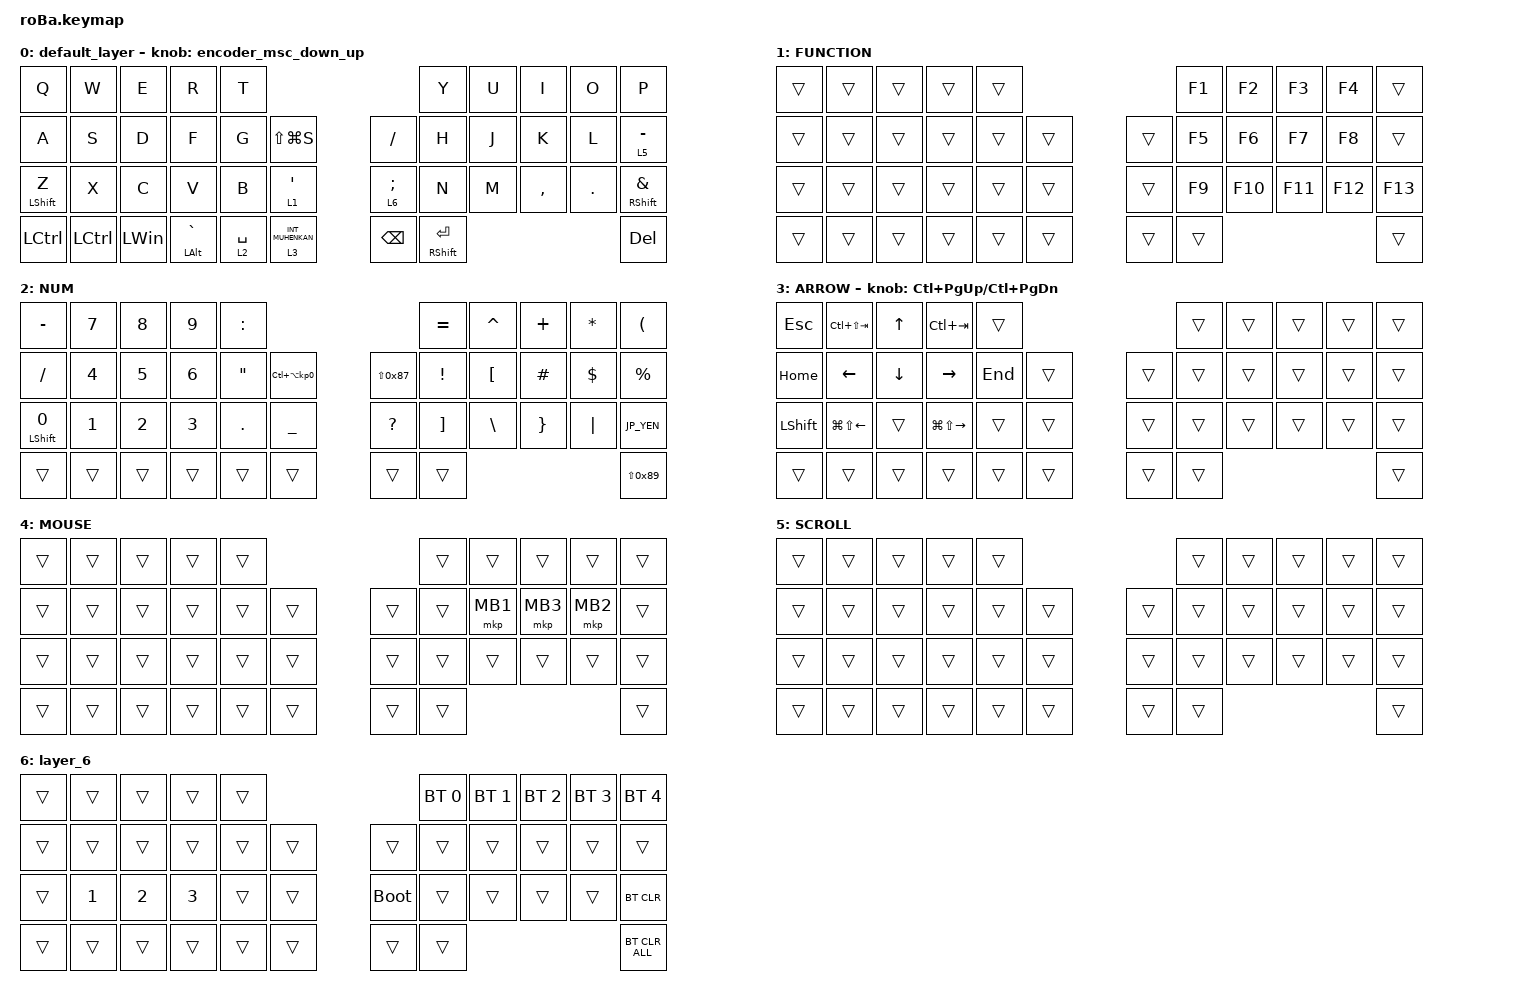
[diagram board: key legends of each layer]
#include <behaviors.dtsi>
#include <dt-bindings/zmk/bt.h>
#include <dt-bindings/zmk/keys.h>
#include <dt-bindings/zmk/pointing.h>

//ロータリーエンコーダのスクロール量を定義
#define ZMK_POINTING_DEFAULT_SCRL_VAL 80

// OS設定を日本語キーボードのまま使用するための変換定義

#define JP_DQUOTE       AT                // "
#define JP_AMPERSAND    CARET             // &
#define JP_QUOTE        AMPERSAND         // '
#define JP_EQUAL        UNDER             // =
#define JP_CARET        EQUAL             // ^
#define JP_YEN          0x89              // ¥
#define JP_PLUS         COLON             // +
#define JP_TILDE        PLUS              // ~
#define JP_PIPE         LS(0x89)          // |
#define JP_AT           LEFT_BRACKET      // @
#define JP_COLON        SINGLE_QUOTE      // :
#define JP_ASTERISK     DOUBLE_QUOTES     // *
#define JP_BACKQUOTE    LEFT_BRACE        // `
#define JP_UNDERSCORE   LS(0x87)          // _
#define JP_LBRACKET     RIGHT_BRACKET     // [
#define JP_RBRACKET     BACKSLASH         // ]
#define JP_LPAREN       ASTERISK          // (
#define JP_RPAREN       LEFT_PARENTHESIS  // )
#define JP_LBRACE       RIGHT_BRACE       // {
#define JP_RBRACE       PIPE              // }
#define JP_KANA         LANGUAGE_1        // かな
#define JP_EISU         LANGUAGE_2        // 英数
#define JP_HANZEN       GRAVE             // 半角/全角

&mt {
    flavor = "balanced";
    quick-tap-ms = <0>;
};

&trackball {
    automouse-layer = <4>;
    scroll-layers = <5>;

    // arrows {
    //     layers = <3>;
    //     bindings =
    //         <&kp RIGHT_ARROW>,
    //         <&kp LEFT_ARROW>,
    //         <&kp UP_ARROW>,
    //         <&kp DOWN_ARROW>;
    //     tick = <10>;
    //     wait-ms = <5>;
    //     tap-ms = <5>;
    // };
};

/ {
    combos {
        compatible = "zmk,combos";

        tab {
            bindings = <&kp TAB>;
            key-positions = <11 12>;
        };

        space {
            bindings = <&kp SPACE>;
            key-positions = <10 14>;
        };

        shift_tab {
            bindings = <&kp LS(TAB)>;
            key-positions = <12 13>;
        };

        double_quotation {
            bindings = <&kp JP_DQUOTE>;
            key-positions = <20 21>;
        };

        eq {
            bindings = <&kp JP_EQUAL>;
            key-positions = <18 19>;
        };

        esc {
            bindings = <&kp ESC>;
            key-positions = <0 1>;
        };

        lt {
            bindings = <&kp LT>;
            key-positions = <17 18>;
        };

        gt {
            bindings = <&kp GT>;
            key-positions = <19 20>;
        };
        sp {
            bindings = <&kp SPACE>;
            key-positions = <22 38>;
        };
    };

    macros {
        to_layer_0: to_layer_0 {
            compatible = "zmk,behavior-macro-one-param";
            #binding-cells = <1>;
            bindings = <&to 0 &macro_param_1to1 &kp MACRO_PLACEHOLDER>;
            label = "TO_LAYER_0";
        };
    };

    behaviors {
        lt_to_layer_0: lt_to_layer_0 {
            compatible = "zmk,behavior-hold-tap";
            label = "LAYER_TAP_TO_0";
            bindings = <&mo>, <&to_layer_0>;

            #binding-cells = <2>;
            tapping-term-ms = <200>;
        };

        encoder_msc_down_up: encoder_msc_down_up {
            compatible = "zmk,behavior-sensor-rotate";
            label = "ENCODER_MSC_DOWN_UP";
            #sensor-binding-cells = <0>;
            bindings = <&msc SCRL_DOWN>, <&msc SCRL_UP>;
            tap-ms = <20>;
        };
    };

    keymap {
        compatible = "zmk,keymap";

        default_layer {
            bindings = <
&kp Q             &kp W         &kp E         &kp R                   &kp T                                                            &kp Y                  &kp U  &kp I      &kp O    &kp P
&kp A             &kp S         &kp D         &kp F                   &kp G        &kp LS(LG(S))                      &kp SLASH        &kp H                  &kp J  &kp K      &kp L    &lt 5 MINUS
&mt LEFT_SHIFT Z  &kp X         &kp C         &kp V                   &kp B        &lt_to_layer_0 1 JP_COLON          &lt 6 SEMICOLON  &kp N                  &kp M  &kp COMMA  &kp DOT  &mt RSHFT JP_QUOTE
&kp LCTRL         &kp LCTRL     &kp LEFT_WIN  &mt LEFT_ALT JP_HANZEN  &lt 2 SPACE  &lt_to_layer_0 3 INT_MUHENKAN      &kp BACKSPACE    &mt RIGHT_SHIFT ENTER                             &kp DEL
            >;

            //sensor-bindings = <&inc_dec_kp PG_UP PAGE_DOWN>;
            sensor-bindings = <&encoder_msc_down_up>;
        };

        FUNCTION {
            bindings = <
&trans  &trans  &trans  &trans  &trans                       &kp F1  &kp F2  &kp F3  &kp F4  &trans
&trans  &trans  &trans  &trans  &trans  &trans      &trans   &kp F5  &kp F6  &kp F7  &kp F8  &trans
&trans  &trans  &trans  &trans  &trans  &trans      &trans   &kp F9  &kp F10 &kp F11 &kp F12 &kp F13
&trans  &trans  &trans  &trans  &trans  &trans      &trans   &trans                          &trans
            >;
        };

        NUM {
            bindings = <
&kp MINUS          &kp N7  &kp N8  &kp N9  &kp JP_PLUS                                                      &kp JP_CARET     &kp JP_AMPERSAND  &kp JP_TILDE   &kp JP_LPAREN  &kp JP_RPAREN
&kp SLASH          &kp N4  &kp N5  &kp N6  &kp JP_ASTERISK  &kp LC(LA(KP_NUMBER_0))      &kp JP_UNDERSCORE  &kp EXCLAMATION  &kp JP_AT         &kp HASH       &kp DOLLAR     &kp PERCENT
&mt LEFT_SHIFT N0  &kp N1  &kp N2  &kp N3  &kp PERIOD       &kp JP_EQUAL                 &kp QUESTION       &kp JP_LBRACKET  &kp JP_RBRACKET   &kp JP_LBRACE  &kp JP_RBRACE  &kp JP_YEN
&trans             &trans  &trans  &trans  &trans           &trans                       &trans             &trans                                                           &kp JP_PIPE
            >;
        };

        ARROW {
            bindings = <
&kp ESCAPE      &kp LC(LS(TAB))         &kp UP_ARROW    &kp LC(TAB)              &trans                       &trans  &trans  &trans  &trans  &trans
&kp HOME        &kp LEFT_ARROW          &kp DOWN_ARROW  &kp RIGHT_ARROW          &kp END  &trans      &trans  &trans  &trans  &trans  &trans  &trans
&kp LEFT_SHIFT  &kp LG(LS(LEFT_ARROW))  &trans          &kp LG(LS(RIGHT_ARROW))  &trans   &trans      &trans  &trans  &trans  &trans  &trans  &trans
&trans          &trans                  &trans          &trans                   &trans   &trans      &trans  &trans                          &trans
            >;

            sensor-bindings = <&inc_dec_kp LC(PAGE_UP) LC(PAGE_DOWN)>;
        };

        MOUSE {
            bindings = <
&trans  &trans  &trans  &trans  &trans                      &trans  &trans    &trans    &trans    &trans
&trans  &trans  &trans  &trans  &trans  &trans      &trans  &trans  &mkp MB1  &mkp MB3  &mkp MB2  &trans
&trans  &trans  &trans  &trans  &trans  &trans      &trans  &trans  &trans    &trans    &trans    &trans
&trans  &trans  &trans  &trans  &trans  &trans      &trans  &trans                                &trans
            >;
        };

        SCROLL {
            bindings = <
&trans  &trans  &trans  &trans  &trans                      &trans  &trans  &trans  &trans  &trans
&trans  &trans  &trans  &trans  &trans  &trans      &trans  &trans  &trans  &trans  &trans  &trans
&trans  &trans  &trans  &trans  &trans  &trans      &trans  &trans  &trans  &trans  &trans  &trans
&trans  &trans  &trans  &trans  &trans  &trans      &trans  &trans                          &trans
            >;
        };

        layer_6 {
            bindings = <
&trans  &trans        &trans        &trans        &trans                           &bt BT_SEL 0  &bt BT_SEL 1  &bt BT_SEL 2  &bt BT_SEL 3  &bt BT_SEL 4
&trans  &trans        &trans        &trans        &trans  &trans      &trans       &trans        &trans        &trans        &trans        &trans
&trans  &kp NUMBER_1  &kp NUMBER_2  &kp NUMBER_3  &trans  &trans      &bootloader  &trans        &trans        &trans        &trans        &bt BT_CLR
&trans  &trans        &trans        &trans        &trans  &trans      &trans       &trans                                                  &bt BT_CLR_ALL
            >;
        };
    };
};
